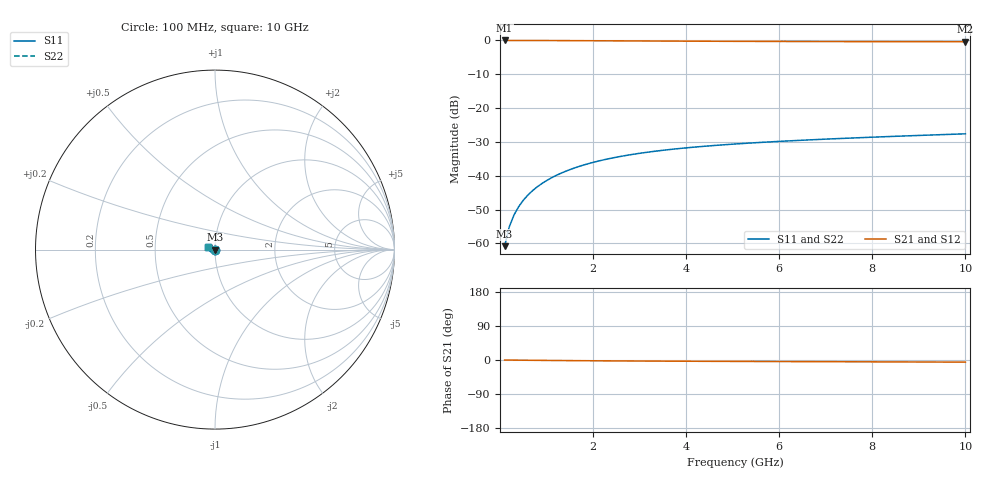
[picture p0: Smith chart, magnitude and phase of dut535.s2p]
! Touchstone file exported from HFSS 2024.1.0
!  File:  C:/UserFiles/LocalFiles/RDL_TSV_Batchsim/temp_TSV1_535_1779704927.aedt
!  Generated:  06:33:26 PM May 25, 2026
!  Design:  TSV1
!  Project:  temp_TSV1_535_1779704927
!  Setup:  Setup1
!  Solution:  Sweep
! Variables:
!  dtsv = 7.03um
!  hbump = 3um
!  htsv = 86.73um
!  lrdl = 252.1521522um
!  p = 40
!  p1 = 47.09um
!  t = 500um
!  trdl = 3um
!  wrdl = 24.89489489um
# GHz S MA R 50.000000
! Terminal data exported
! Port[1] = TSV22_T1
! Port[2] = TSV22_T2
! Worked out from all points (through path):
!   100 points, 100 MHz to 10 GHz, reference 50 ohm
!   highest |S21| = 0.00 dB at 100 MHz (marker M1); lowest = -0.4 dB at 10 GHz (marker M2)
!   lowest |S11| = -60.8 dB at 100 MHz (marker M3), VSWR 1.00, Z = 50 - j0.087 ohm
!   |S11| at or under -10 dB: start of sweep to end of sweep
!   |S22| runs from -60.8 to -27.6 dB; largest |S21 - S12| = 1.5e-14
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0.1  0.0009128 -72.3  0.9997 -0.1  0.9997 -0.1  0.0009128 -72.3
! Gamma 0 0 0 0
! Port Impedance 50 0 50 0
0.2  0.001763 -83.7  0.9996 -0.2  0.9996 -0.2  0.001763 -83.7
0.3  0.002624 -88.9  0.9994 -0.3  0.9994 -0.3  0.002624 -88.9
0.4  0.003484 -92.5  0.9992 -0.5  0.9992 -0.5  0.003484 -92.5
0.5  0.004339 -95.4  0.9989 -0.6  0.9989 -0.6  0.004339 -95.4
0.6  0.005188 -97.9  0.9986 -0.7  0.9986 -0.7  0.005188 -97.9
0.7  0.006028 -100.3  0.9983 -0.8  0.9983 -0.8  0.006028 -100.3
0.8  0.00686 -102.5  0.9978 -0.9  0.9978 -0.9  0.00686 -102.5
0.9  0.00768 -104.6  0.9974 -1.0  0.9974 -1.0  0.00768 -104.6
1.1  0.009285 -108.6  0.9963 -1.2  0.9963 -1.2  0.009285 -108.6
1.4  0.01159 -114.3  0.9945 -1.5  0.9945 -1.5  0.01159 -114.3
1.6  0.01305 -117.9  0.9932 -1.7  0.9932 -1.7  0.01305 -117.9
1.8  0.01445 -121.4  0.9917 -1.9  0.9917 -1.9  0.01445 -121.4
2.1  0.01642 -126.4  0.9895 -2.1  0.9895 -2.1  0.01642 -126.4
2.5  0.01882 -132.6  0.9864 -2.4  0.9864 -2.4  0.01882 -132.6
2.9  0.02098 -138.4  0.9834 -2.7  0.9834 -2.7  0.02098 -138.4
3.4  0.02337 -145.1  0.9799 -3.0  0.9799 -3.0  0.02337 -145.1
4.2  0.02662 -154.6  0.9748 -3.4  0.9748 -3.4  0.02662 -154.6
5.1  0.02965 -163.9  0.9701 -3.7  0.9701 -3.7  0.02965 -163.9
6.7  0.03407 -177.6  0.9639 -4.4  0.9639 -4.4  0.03407 -177.6
8.4  0.03812 170.7  0.9594 -5.0  0.9594 -5.0  0.03812 170.7
10  0.04171 161.6  0.9565 -5.6  0.9565 -5.6  0.04171 161.6
